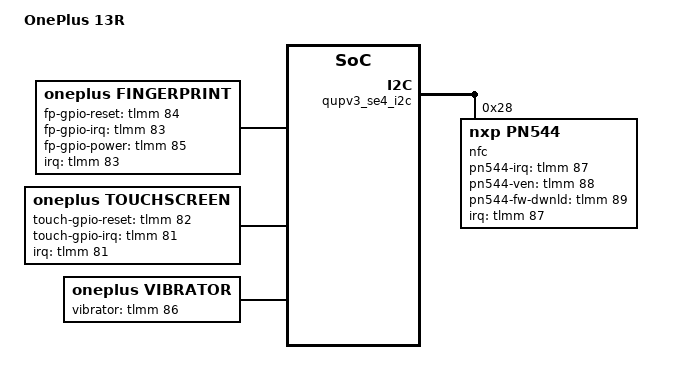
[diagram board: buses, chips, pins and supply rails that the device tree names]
// SPDX-License-Identifier: GPL-2.0-only
/*
 * Copyright (c) 2024, The Linux Foundation. All rights reserved.
 */

/dts-v1/;

#include "kalama.dtsi"
#include "kalama-mtp.dtsi"
#include "kalama-oneplus-13r-pinctrl.dtsi"
#include "kalama-oneplus-13r-audio.dtsi"
#include "kalama-oneplus-13r-camera.dtsi"
#include "kalama-oneplus-13r-display.dtsi"
#include "kalama-oneplus-13r-battery.dtsi"
#include "kalama-oneplus-13r-charger.dtsi"
#include "kalama-oneplus-13r-sensors.dtsi"
#include "kalama-oneplus-13r-nfc.dtsi"

/ {
    model = "OnePlus 13R";
    compatible = "qcom,kalama-mtp", "qcom,kalama", "qcom,mtp";
    qcom,board-id = <0x10008 0>;
    qcom,pmic-id = <0x0 0x0 0x0 0x0>;

    chosen {
        bootargs = "console=ttyMSM0,115200n8 earlycon=msm_geni_serial,0x994000,115200n8 loglevel=8";
    };

    reserved-memory {
        #address-cells = <2>;
        #size-cells = <2>;
        ranges;

        ramoops@b0000000 {
            compatible = "ramoops";
            reg = <0 0xb0000000 0 0x00400000>;
            record-size = <0x40000>;
            console-size = <0x40000>;
            ftrace-size = <0x40000>;
            pmsg-size = <0x200000>;
            ecc-size = <0x0>;
        };
    };
};

&soc {
    fingerprint: fingerprint {
        compatible = "oneplus,fingerprint";
        interrupt-parent = <&tlmm>;
        interrupts = <83 0>;
        fp-gpio-reset = <&tlmm 84 0>;
        fp-gpio-irq = <&tlmm 83 0>;
        fp-gpio-power = <&tlmm 85 0>;
        status = "ok";
    };

    touchscreen: touchscreen {
        compatible = "oneplus,touchscreen";
        interrupt-parent = <&tlmm>;
        interrupts = <81 0>;
        touch-gpio-reset = <&tlmm 82 0>;
        touch-gpio-irq = <&tlmm 81 0>;
        status = "ok";
    };

    vibrator: vibrator {
        compatible = "oneplus,vibrator";
        vibrator-gpio = <&tlmm 86 0>;
        status = "ok";
    };
};

&qupv3_se4_i2c {
    status = "ok";
    nfc@28 {
        compatible = "nxp,pn544";
        reg = <0x28>;
        nxp,pn544-irq = <&tlmm 87 0>;
        nxp,pn544-ven = <&tlmm 88 0>;
        nxp,pn544-fw-dwnld = <&tlmm 89 0>;
        interrupt-parent = <&tlmm>;
        interrupts = <87 0>;
        interrupt-names = "nfc_irq";
        pinctrl-names = "nfc_active", "nfc_suspend";
        pinctrl-0 = <&nfc_int_active &nfc_enable_active>;
        pinctrl-1 = <&nfc_int_suspend &nfc_enable_suspend>;
    };
};

&tlmm {
    nfc_int_active: nfc_int_active {
        mux {
            pins = "gpio87";
            function = "gpio";
        };
        config {
            pins = "gpio87";
            drive-strength = <2>;
            bias-pull-up;
        };
    };

    nfc_int_suspend: nfc_int_suspend {
        mux {
            pins = "gpio87";
            function = "gpio";
        };
        config {
            pins = "gpio87";
            drive-strength = <2>;
            bias-pull-up;
        };
    };

    nfc_enable_active: nfc_enable_active {
        mux {
            pins = "gpio88";
            function = "gpio";
        };
        config {
            pins = "gpio88";
            drive-strength = <2>;
            bias-pull-up;
        };
    };

    nfc_enable_suspend: nfc_enable_suspend {
        mux {
            pins = "gpio88";
            function = "gpio";
        };
        config {
            pins = "gpio88";
            drive-strength = <2>;
            bias-pull-up;
        };
    };
}; 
